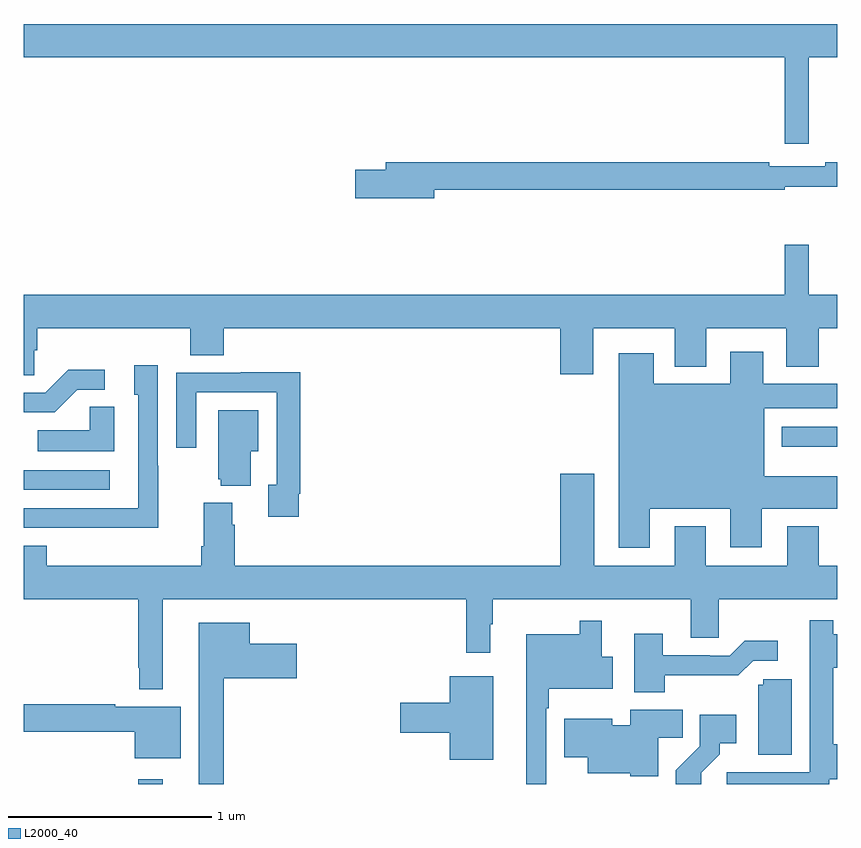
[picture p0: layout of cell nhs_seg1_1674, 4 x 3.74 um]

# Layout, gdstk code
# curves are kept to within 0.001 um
import gdstk
lib = gdstk.Library(unit=1e-6, precision=1e-09)
def R(c, l, rs):  # rectangles x0, y0, x1, y1
    for r in rs: c.add(gdstk.rectangle(r[:2], r[2:], *l))
def P(c, l, *ps):  # polygons
    for p in ps: c.add(gdstk.Polygon(p, *l))
L2000_40 = (2000, 40)

nhs_seg1_1674 = lib.new_cell('nhs_seg1_1674')
R(nhs_seg1_1674, L2000_40, [(203.562,508.199,203.683,508.222), (203,509.646,203.422,509.742), (206.726,509.858,207,509.955)])
P(nhs_seg1_1674, L2000_40, [(206.86,511.772),(207,511.772),(207,511.936),(203,511.936),(203,511.772),(206.743,511.772),(206.743,511.347),(206.86,511.347)],
  [(205.018,511.12),(206.742,511.12),(206.742,511.135),(207,511.135),(207,511.256),(206.942,511.256),(206.942,511.236),(206.666,511.236),(206.666,511.256),(204.779,511.256),(204.779,511.22),(204.63,511.22),(204.63,511.078),(205.018,511.078)],
  [(203.052,510.331),(203.066,510.331),(203.066,510.44),(203.819,510.44),(203.819,510.307),(203.984,510.307),(203.984,510.44),(205.637,510.44),(205.637,510.213),(205.801,510.213),(205.801,510.44),(206.201,510.44),(206.201,510.251),(206.356,510.251),(206.356,510.44),(206.75,510.44),(206.75,510.251),(206.908,510.251),(206.908,510.44),(207,510.44),(207,510.604),(206.861,510.604),(206.861,510.85),(206.743,510.85),(206.743,510.604),(203,510.604),(203,510.208),(203.052,510.208)],
  [(206.077,509.552),(206.474,509.552),(206.474,509.364),(206.629,509.364),(206.629,509.552),(207,509.552),(207,509.713),(206.641,509.713),(206.641,510.047),(207,510.047),(207,510.166),(206.635,510.166),(206.635,510.325),(206.474,510.325),(206.474,510.166),(206.098,510.166),(206.098,510.316),(205.925,510.316),(205.925,509.361),(206.077,509.361)],
  [(203.661,509.765),(203.658,509.765),(203.658,510.259),(203.543,510.259),(203.543,510.114),(203.562,510.114),(203.562,509.556),(203,509.556),(203,509.46),(203.197,509.46),(203.197,509.459),(203.661,509.459)],
  [(203.263,510.138),(203.398,510.138),(203.398,510.236),(203.219,510.236),(203.106,510.123),(203,510.123),(203,510.027),(203.152,510.027)],
  [(204.352,509.626),(204.359,509.626),(204.359,510.224),(204.067,510.224),(204.067,510.222),(203.751,510.222),(203.751,509.853),(203.847,509.853),(203.847,510.126),(204.243,510.126),(204.243,509.67),(204.203,509.67),(204.203,509.514),(204.352,509.514)],
  [(203.446,510.053),(203.325,510.053),(203.325,509.938),(203.068,509.938),(203.068,509.834),(203.446,509.834)],
  [(204.115,509.834),(204.154,509.834),(204.154,510.037),(203.957,510.037),(203.957,509.697),(203.969,509.697),(203.969,509.666),(204.115,509.666)],
  [(203.683,509.108),(205.177,509.108),(205.177,508.845),(205.294,508.845),(205.294,508.985),(205.306,508.985),(205.306,509.108),(206.279,509.108),(206.279,508.918),(206.418,508.918),(206.418,509.108),(207,509.108),(207,509.272),(206.908,509.272),(206.908,509.467),(206.753,509.467),(206.753,509.272),(206.353,509.272),(206.353,509.467),(206.201,509.467),(206.201,509.272),(205.804,509.272),(205.804,509.725),(205.637,509.725),(205.637,509.272),(204.038,509.272),(204.038,509.474),(204.025,509.474),(204.025,509.581),(203.885,509.581),(203.885,509.368),(203.873,509.368),(203.873,509.272),(203.114,509.272),(203.114,509.371),(203,509.371),(203,509.108),(203.562,509.108),(203.562,508.771),(203.568,508.771),(203.568,508.664),(203.683,508.664)],
  [(206.961,508.223),(207,508.223),(207,508.394),(206.981,508.394),(206.981,508.771),(207,508.771),(207,508.936),(206.981,508.936),(206.981,509.005),(206.864,509.005),(206.864,508.782),(206.865,508.782),(206.865,508.257),(206.457,508.257),(206.457,508.199),(206.961,508.199)],
  [(205.569,508.571),(205.582,508.571),(205.582,508.667),(205.897,508.667),(205.897,508.825),(205.843,508.825),(205.843,509.002),(205.734,509.002),(205.734,508.936),(205.472,508.936),(205.472,508.199),(205.569,508.199)],
  [(203.983,508.718),(204.343,508.718),(204.343,508.888),(204.112,508.888),(204.112,508.993),(203.861,508.993),(203.861,508.199),(203.983,508.199)],
  [(206.151,508.734),(206.513,508.733),(206.586,508.806),(206.707,508.806),(206.707,508.903),(206.545,508.903),(206.472,508.83),(206.372,508.83),(206.372,508.833),(206.143,508.833),(206.143,508.939),(206.003,508.939),(206.003,508.649),(206.151,508.649)],
  [(205.309,508.729),(205.094,508.729),(205.094,508.598),(204.852,508.598),(204.852,508.451),(205.094,508.451),(205.094,508.319),(205.309,508.319)],
  [(206.776,508.713),(206.637,508.713),(206.637,508.686),(206.612,508.686),(206.612,508.342),(206.776,508.342)],
  [(203.773,508.579),(203.45,508.579),(203.45,508.592),(203,508.592),(203,508.456),(203.546,508.456),(203.546,508.325),(203.773,508.325)],
  [(206.119,508.426),(206.24,508.426),(206.24,508.564),(205.982,508.564),(205.982,508.489),(205.894,508.489),(205.894,508.519),(205.658,508.519),(205.658,508.331),(205.772,508.331),(205.772,508.253),(205.982,508.253),(205.982,508.238),(206.119,508.238)],
  [(206.332,508.255),(206.422,508.345),(206.422,508.4),(206.503,508.4),(206.503,508.54),(206.325,508.54),(206.325,508.385),(206.206,508.266),(206.206,508.199),(206.332,508.199)])

lib.write_gds('nhs_seg1_1674.gds')
